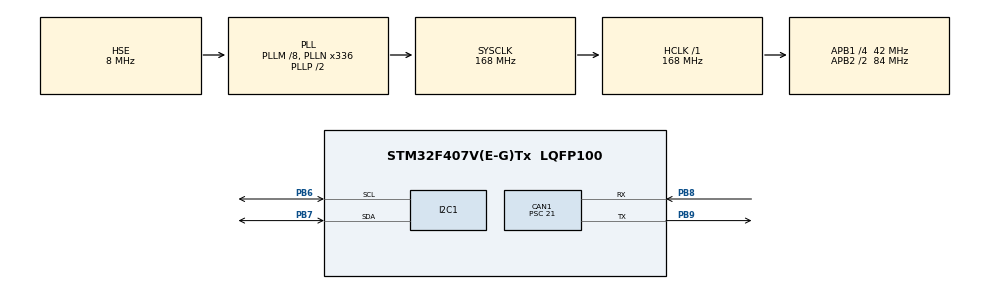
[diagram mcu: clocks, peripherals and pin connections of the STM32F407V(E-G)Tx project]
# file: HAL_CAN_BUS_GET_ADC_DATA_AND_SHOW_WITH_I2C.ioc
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CAN1.BS1=CAN_BS1_12TQ
CAN1.BS2=CAN_BS2_4TQ
CAN1.CalculateBaudRate=117647
CAN1.CalculateTimeBit=8500
CAN1.CalculateTimeQuantum=500.0
CAN1.Prescaler=21
Mcu.Family=STM32F4
Mcu.Name=STM32F407V(E-G)Tx
Mcu.Package=LQFP100
NVIC.CAN1_RX0_IRQn=true\:0\:0\:false\:false\:true\:true\:true\:true
NVIC.PriorityGroup=NVIC_PRIORITYGROUP_0
PB6.Mode=I2C
PB6.Signal=I2C1_SCL
PB7.Mode=I2C
PB7.Signal=I2C1_SDA
PB8.Mode=CAN_Activate
PB8.Signal=CAN1_RX
PB9.Mode=CAN_Activate
PB9.Signal=CAN1_TX
PH0-OSC_IN.Mode=HSE-External-Oscillator
PH0-OSC_IN.Signal=RCC_OSC_IN
PH1-OSC_OUT.Mode=HSE-External-Oscillator
PH1-OSC_OUT.Signal=RCC_OSC_OUT
ProjectManager.HeapSize=0x200
ProjectManager.StackSize=0x400
ProjectManager.TargetToolchain=STM32CubeIDE
RCC.48MHZClocksFreq_Value=48000000
RCC.AHBFreq_Value=168000000
RCC.APB1CLKDivider=RCC_HCLK_DIV4
RCC.APB1Freq_Value=42000000
RCC.APB1TimFreq_Value=84000000
RCC.APB2CLKDivider=RCC_HCLK_DIV2
RCC.APB2Freq_Value=84000000
RCC.APB2TimFreq_Value=168000000
RCC.CortexFreq_Value=168000000
RCC.HCLKFreq_Value=168000000
RCC.HSE_VALUE=8000000
RCC.HSI_VALUE=16000000
RCC.LSE_VALUE=32768
RCC.PLLM=8
RCC.PLLN=336
RCC.PLLQ=7
RCC.PLLSourceVirtual=RCC_PLLSOURCE_HSE
RCC.SYSCLKFreq_VALUE=168000000
RCC.SYSCLKSource=RCC_SYSCLKSOURCE_PLLCLK
RCC.VCOOutputFreq_Value=336000000
board=STM32F407G-DISC1

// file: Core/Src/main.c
/* USER CODE BEGIN Header */
/**
  ******************************************************************************
  * @file           : main.c
  * @brief          : Main program body
  ******************************************************************************
  * @attention
  *
  * Copyright (c) 2024 STMicroelectronics.
  * All rights reserved.
  *
  * This software is licensed under terms that can be found in the LICENSE file
  * in the root directory of this software component.
  * If no LICENSE file comes with this software, it is provided AS-IS.
  *
  ******************************************************************************
  */
/* USER CODE END Header */
#include "main.h"

/* USER CODE BEGIN Includes */
#include "i2c-lcd.h"
/* USER CODE END Includes */

CAN_HandleTypeDef hcan1;

I2C_HandleTypeDef hi2c1;

/* USER CODE BEGIN PV */
CAN_TxHeaderTypeDef pHeader;
CAN_RxHeaderTypeDef pRxHeader;
CAN_FilterTypeDef sFilterConfig;
uint8_t rAdc_value;

/* USER CODE END PV */

void SystemClock_Config(void);
static void MX_GPIO_Init(void);
static void MX_I2C1_Init(void);
static void MX_CAN1_Init(void);

int main(void)
{

  /* MCU Configuration--------------------------------------------------------*/

  /* Reset of all peripherals, Initializes the Flash interface and the Systick. */
  HAL_Init();

  /* Configure the system clock */
  SystemClock_Config();

  /* Initialize all configured peripherals */
  MX_GPIO_Init();
  MX_I2C1_Init();
  MX_CAN1_Init();
  /* USER CODE BEGIN 2 */
  pHeader.DLC=1;
  pHeader.IDE=CAN_ID_STD;
  pHeader.RTR=CAN_RTR_DATA;
  pHeader.StdId=0xF37A;

  sFilterConfig.FilterActivation=ENABLE;
  sFilterConfig.FilterBank=0;
  sFilterConfig.FilterFIFOAssignment=CAN_FILTER_FIFO0;
  sFilterConfig.FilterIdHigh=0x0000;
  sFilterConfig.FilterIdLow=0x0000;
  sFilterConfig.FilterMaskIdHigh=0x0000;
  sFilterConfig.FilterMaskIdLow=0x0000;
  sFilterConfig.FilterMode = CAN_FILTERMODE_IDMASK;
  sFilterConfig.FilterScale=CAN_FILTERSCALE_16BIT;

  HAL_CAN_ConfigFilter(&hcan1, &sFilterConfig);

  HAL_CAN_Start(&hcan1);

  HAL_CAN_ActivateNotification(&hcan1,CAN_IT_RX_FIFO0_MSG_PENDING);

  lcd_init();
  lcd_send_string("CAN BUS ADC");
  HAL_Delay(1000);

  /* USER CODE END 2 */

  /* Infinite loop */
  while (1)
  {

  }
}

void SystemClock_Config(void)
{
  RCC_OscInitTypeDef RCC_OscInitStruct = {0};
  RCC_ClkInitTypeDef RCC_ClkInitStruct = {0};

  /** Configure the main internal regulator output voltage
  */
  __HAL_RCC_PWR_CLK_ENABLE();
  __HAL_PWR_VOLTAGESCALING_CONFIG(PWR_REGULATOR_VOLTAGE_SCALE1);

  /** Initializes the RCC Oscillators according to the specified parameters
  * in the RCC_OscInitTypeDef structure.
  */
  RCC_OscInitStruct.OscillatorType = RCC_OSCILLATORTYPE_HSE;
  RCC_OscInitStruct.HSEState = RCC_HSE_ON;
  RCC_OscInitStruct.PLL.PLLState = RCC_PLL_ON;
  RCC_OscInitStruct.PLL.PLLSource = RCC_PLLSOURCE_HSE;
  RCC_OscInitStruct.PLL.PLLM = 8;
  RCC_OscInitStruct.PLL.PLLN = 336;
  RCC_OscInitStruct.PLL.PLLP = RCC_PLLP_DIV2;
  RCC_OscInitStruct.PLL.PLLQ = 7;
  if (HAL_RCC_OscConfig(&RCC_OscInitStruct) != HAL_OK)
  {
    Error_Handler();
  }

  /** Initializes the CPU, AHB and APB buses clocks
  */
  RCC_ClkInitStruct.ClockType = RCC_CLOCKTYPE_HCLK|RCC_CLOCKTYPE_SYSCLK
                              |RCC_CLOCKTYPE_PCLK1|RCC_CLOCKTYPE_PCLK2;
  RCC_ClkInitStruct.SYSCLKSource = RCC_SYSCLKSOURCE_PLLCLK;
  RCC_ClkInitStruct.AHBCLKDivider = RCC_SYSCLK_DIV1;
  RCC_ClkInitStruct.APB1CLKDivider = RCC_HCLK_DIV4;
  RCC_ClkInitStruct.APB2CLKDivider = RCC_HCLK_DIV2;

  if (HAL_RCC_ClockConfig(&RCC_ClkInitStruct, FLASH_LATENCY_5) != HAL_OK)
  {
    Error_Handler();
  }
}

static void MX_CAN1_Init(void)
{

  hcan1.Instance = CAN1;
  hcan1.Init.Prescaler = 21;
  hcan1.Init.Mode = CAN_MODE_NORMAL;
  hcan1.Init.SyncJumpWidth = CAN_SJW_1TQ;
  hcan1.Init.TimeSeg1 = CAN_BS1_12TQ;
  hcan1.Init.TimeSeg2 = CAN_BS2_4TQ;
  hcan1.Init.TimeTriggeredMode = DISABLE;
  hcan1.Init.AutoBusOff = DISABLE;
  hcan1.Init.AutoWakeUp = DISABLE;
  hcan1.Init.AutoRetransmission = DISABLE;
  hcan1.Init.ReceiveFifoLocked = DISABLE;
  hcan1.Init.TransmitFifoPriority = DISABLE;
  if (HAL_CAN_Init(&hcan1) != HAL_OK)
  {
    Error_Handler();
  }

}

static void MX_I2C1_Init(void)
{

  hi2c1.Instance = I2C1;
  hi2c1.Init.ClockSpeed = 100000;
  hi2c1.Init.DutyCycle = I2C_DUTYCYCLE_2;
  hi2c1.Init.OwnAddress1 = 0;
  hi2c1.Init.AddressingMode = I2C_ADDRESSINGMODE_7BIT;
  hi2c1.Init.DualAddressMode = I2C_DUALADDRESS_DISABLE;
  hi2c1.Init.OwnAddress2 = 0;
  hi2c1.Init.GeneralCallMode = I2C_GENERALCALL_DISABLE;
  hi2c1.Init.NoStretchMode = I2C_NOSTRETCH_DISABLE;
  if (HAL_I2C_Init(&hi2c1) != HAL_OK)
  {
    Error_Handler();
  }

}

static void MX_GPIO_Init(void)
{

  /* GPIO Ports Clock Enable */
  __HAL_RCC_GPIOH_CLK_ENABLE();
  __HAL_RCC_GPIOB_CLK_ENABLE();

}

void Error_Handler(void)
{
  __disable_irq();
  while (1)
  {
  }
}
